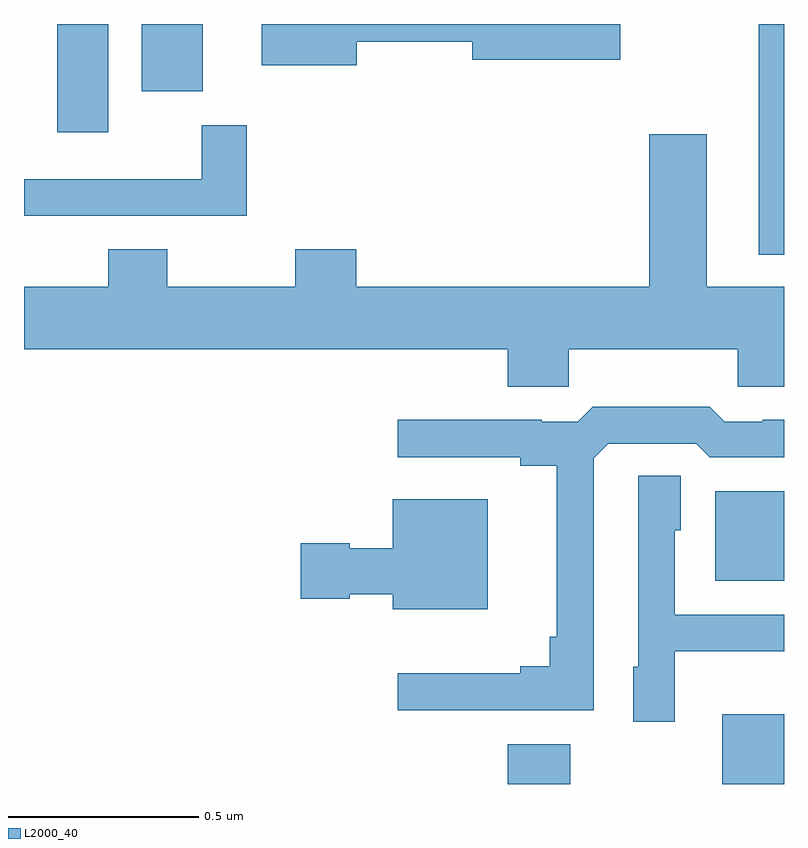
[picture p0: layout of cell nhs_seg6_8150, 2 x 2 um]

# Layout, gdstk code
import gdstk
lib = gdstk.Library(unit=1e-6, precision=1e-09)
def R(c, l, rs):  # rectangles x0, y0, x1, y1
    for r in rs: c.add(gdstk.rectangle(r[:2], r[2:], *l))
def P(c, l, *ps):  # polygons
    for p in ps: c.add(gdstk.Polygon(p, *l))
L2000_40 = (2000, 40)

nhs_seg6_8150 = lib.new_cell('nhs_seg6_8150')
R(nhs_seg6_8150, L2000_40, [(218.273,971.5,218.437,971.605), (218.837,971.5,219,971.683), (218.819,972.035,219,972.271), (218.933,972.893,219,973.5), (217.088,973.215,217.222,973.5), (217.31,973.323,217.471,973.5)])
P(nhs_seg6_8150, L2000_40, [(217.876,973.453),(218.18,973.453),(218.18,973.406),(218.569,973.406),(218.569,973.5),(217.625,973.5),(217.625,973.391),(217.876,973.391)],
  [(217.586,973.234),(217.468,973.234),(217.468,973.092),(217,973.092),(217,972.996),(217.586,972.996)],
  [(218.433,972.644),(218.878,972.644),(218.878,972.546),(219,972.546),(219,972.808),(218.797,972.808),(218.797,973.21),(218.645,973.21),(218.645,972.808),(217.874,972.808),(217.874,972.907),(217.714,972.907),(217.714,972.808),(217.377,972.808),(217.377,972.907),(217.222,972.907),(217.222,972.808),(217,972.808),(217,972.644),(218.273,972.644),(218.273,972.546),(218.433,972.546)],
  [(218.499,972.357),(218.538,972.396),(218.769,972.396),(218.805,972.36),(219,972.36),(219,972.458),(218.944,972.458),(218.944,972.453),(218.844,972.453),(218.805,972.493),(218.497,972.493),(218.457,972.453),(218.363,972.453),(218.363,972.458),(217.983,972.458),(217.983,972.36),(218.306,972.36),(218.306,972.338),(218.402,972.338),(218.402,971.887),(218.383,971.887),(218.383,971.81),(218.306,971.81),(218.306,971.791),(217.983,971.791),(217.983,971.694),(218.499,971.694)],
  [(218.712,971.849),(219,971.849),(219,971.946),(218.712,971.946),(218.712,972.168),(218.728,972.168),(218.728,972.311),(218.616,972.311),(218.616,971.808),(218.603,971.808),(218.603,971.664),(218.712,971.664)],
  [(218.221,972.25),(217.97,972.25),(217.97,972.121),(217.857,972.121),(217.857,972.134),(217.728,972.134),(217.728,971.987),(217.857,971.987),(217.857,971.999),(217.97,971.999),(217.97,971.96),(218.221,971.96)])

lib.write_gds('nhs_seg6_8150.gds')
